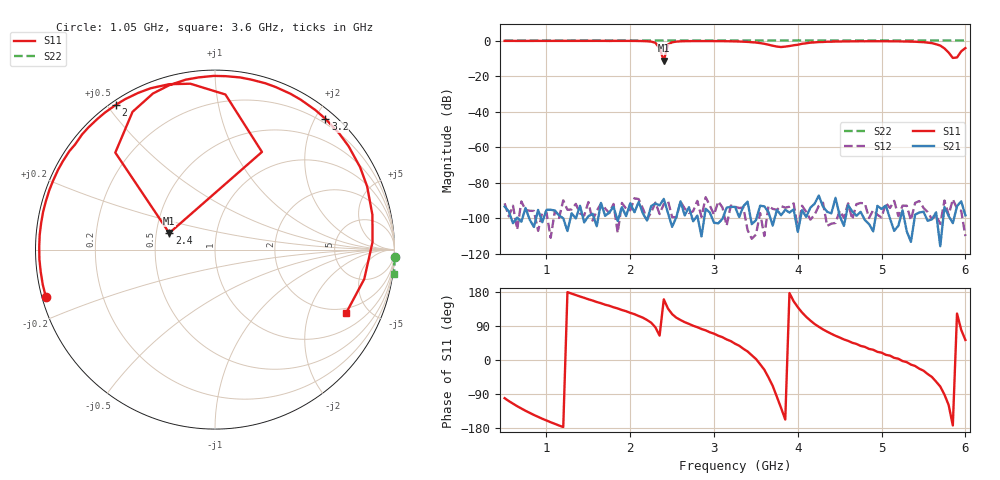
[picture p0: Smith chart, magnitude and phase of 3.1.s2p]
!Agilent Technologies,N5230A,US43500308,A.06.04.32
!Agilent N5230A: A.06.04.32
!Date: Thursday, July 11, 2024 10:53:00
!Correction: S11(Full 2 Port(1,2)) S21(Full 2 Port(1,2)) S12(Full 2 Port(1,2)) S22(Full 2 Port(1,2))
!S2P File: Measurements: S11, S21, S12, S22:
# Hz S  dB  R 50
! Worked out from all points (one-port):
!   111 points, 500 MHz to 6 GHz, reference 50 ohm
!   lowest |S11| = -11.3 dB at 2.4 GHz (marker M1), VSWR 1.74, Z = 29.3 + j5.82 ohm
!   |S11| at or under -10 dB: 2.39 GHz to 2.407 GHz (16.97 MHz wide, 0.707 % of centre)
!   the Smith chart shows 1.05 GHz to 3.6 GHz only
!   S11 on the Smith chart (normalised r, x): 1.05 GHz: 0.01, -0.14; 2 GHz: 0.01, +0.53; 2.4 GHz: 0.59, +0.12; 3.2 GHz: 0.13, +2.15; 3.6 GHz: 1.75, -3.59
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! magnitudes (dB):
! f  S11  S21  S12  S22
! 500 MHz  -0.2  -93.4  -91.6  0.0
! 1.05 GHz  -0.2  -95.2  -111.0  0.0
! 1.45 GHz  -0.2  -102.4  -98.5  0.0
! 2 GHz  -0.2  -91.6  -95.6  0.0
! 2.25 GHz  -0.6  -93.1  -96.7  0.0
! 2.3 GHz  -1.2  -91.8  -91.2  0.0
! 2.35 GHz  -4.4  -92.8  -97.6  0.0
! 2.4 GHz  -11.3  -89.1  -92.1  0.0
! 2.45 GHz  -2.2  -97.1  -90.2  0.0
! 2.5 GHz  -1.0  -104.9  -99.4  0.0
! 3.2 GHz  -0.4  -93.6  -92.9  0.0
! 3.25 GHz  -0.5  -93.6  -93.5  0.0
! 3.6 GHz  -1.8  -93.3  -110.0  0.1
! 3.8 GHz  -3.6  -98.3  -93.1  0.1
! 4.2 GHz  -1.0  -91.8  -98.1  0.1
! 5.1 GHz  -0.4  -100.1  -94.2  0.1
! 5.65 GHz  -2.1  -96.7  -98.5  0.1
! 5.75 GHz  -4.4  -93.7  -90.0  0.0
! 5.85 GHz  -9.8  -102.8  -89.4  0.0
! 5.9 GHz  -9.5  -93.2  -94.5  0.0
! 5.95 GHz  -6.1  -90.5  -95.8  0.0
! 6 GHz  -4.2  -98.4  -110.1  0.0
